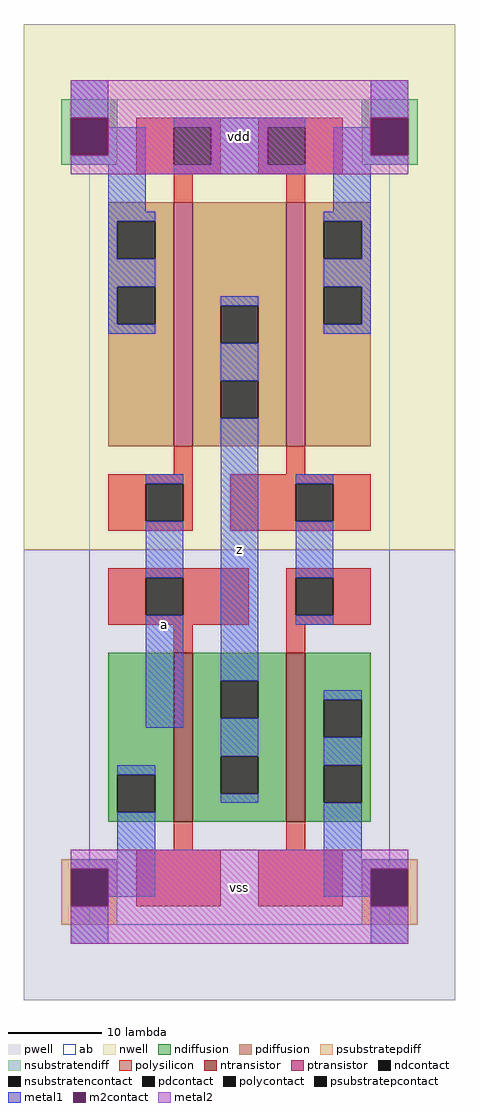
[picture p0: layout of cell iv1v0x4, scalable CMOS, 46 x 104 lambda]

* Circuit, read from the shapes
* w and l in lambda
.subckt iv1v0x4 a vdd vss z
M1 z a vss vss nfet w=18 l=2 m=2
M2 z a vdd vdd pfet w=26 l=2 m=2
.ends

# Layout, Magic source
magic
tech scmos
<< ab >>
rect 0 0 32 88
<< pwell >>
rect -7 -8 39 40
<< nwell >>
rect -7 40 39 96
<< polysilicon >>
rect 5 85 14 86
rect 5 81 9 85
rect 13 81 14 85
rect 5 80 14 81
rect 18 85 27 86
rect 18 81 19 85
rect 23 81 27 85
rect 18 80 27 81
rect 9 77 11 80
rect 21 77 23 80
rect 9 48 11 51
rect 21 48 23 51
rect 2 47 11 48
rect 2 43 6 47
rect 10 43 11 47
rect 2 42 11 43
rect 15 47 30 48
rect 15 43 22 47
rect 26 43 30 47
rect 15 42 30 43
rect 2 37 17 38
rect 2 33 6 37
rect 10 33 17 37
rect 2 32 17 33
rect 21 37 30 38
rect 21 33 22 37
rect 26 33 30 37
rect 21 32 30 33
rect 9 29 11 32
rect 21 29 23 32
rect 9 8 11 11
rect 21 8 23 11
rect 5 2 14 8
rect 18 2 27 8
<< ndiffusion >>
rect 2 16 9 29
rect 2 12 3 16
rect 7 12 9 16
rect 2 11 9 12
rect 11 26 21 29
rect 11 22 14 26
rect 18 22 21 26
rect 11 18 21 22
rect 11 14 14 18
rect 18 14 21 18
rect 11 11 21 14
rect 23 24 30 29
rect 23 20 25 24
rect 29 20 30 24
rect 23 17 30 20
rect 23 13 25 17
rect 29 13 30 17
rect 23 11 30 13
<< pdiffusion >>
rect 2 75 9 77
rect 2 71 3 75
rect 7 71 9 75
rect 2 68 9 71
rect 2 64 3 68
rect 7 64 9 68
rect 2 51 9 64
rect 11 66 21 77
rect 11 62 14 66
rect 18 62 21 66
rect 11 58 21 62
rect 11 54 14 58
rect 18 54 21 58
rect 11 51 21 54
rect 23 75 30 77
rect 23 71 25 75
rect 29 71 30 75
rect 23 68 30 71
rect 23 64 25 68
rect 29 64 30 68
rect 23 51 30 64
<< metal1 >>
rect -2 86 2 90
rect 30 86 34 90
rect 9 85 23 86
rect 2 82 6 85
rect -2 81 6 82
rect 2 76 6 81
rect 13 81 19 85
rect 9 80 23 81
rect 26 82 30 85
rect 26 81 34 82
rect 26 76 30 81
rect 2 75 7 76
rect 2 71 3 75
rect 2 68 7 71
rect 2 64 3 68
rect 25 75 30 76
rect 29 71 30 75
rect 25 68 30 71
rect 2 63 7 64
rect 14 66 18 67
rect 29 64 30 68
rect 25 63 30 64
rect 14 58 18 62
rect 6 47 10 48
rect 6 37 10 43
rect 6 21 10 33
rect 14 26 18 54
rect 22 47 26 48
rect 22 37 26 43
rect 22 32 26 33
rect 14 18 18 22
rect 3 16 7 17
rect 14 13 18 14
rect 25 24 29 25
rect 25 17 29 20
rect 3 7 7 12
rect -2 6 7 7
rect 2 3 7 6
rect 25 7 29 13
rect 25 6 34 7
rect 25 3 30 6
rect -2 -2 2 2
rect 30 -2 34 2
<< metal2 >>
rect -2 86 34 90
rect 2 82 30 86
rect -2 80 34 82
rect -2 6 34 8
rect 2 2 30 6
rect -2 -2 34 2
<< ntransistor >>
rect 9 11 11 29
rect 21 11 23 29
<< ptransistor >>
rect 9 51 11 77
rect 21 51 23 77
<< polycontact >>
rect 9 81 13 85
rect 19 81 23 85
rect 6 43 10 47
rect 22 43 26 47
rect 6 33 10 37
rect 22 33 26 37
<< ndcontact >>
rect 3 12 7 16
rect 14 22 18 26
rect 14 14 18 18
rect 25 20 29 24
rect 25 13 29 17
<< pdcontact >>
rect 3 71 7 75
rect 3 64 7 68
rect 14 62 18 66
rect 14 54 18 58
rect 25 71 29 75
rect 25 64 29 68
<< m2contact >>
rect -2 82 2 86
rect 30 82 34 86
rect -2 2 2 6
rect 30 2 34 6
<< psubstratepcontact >>
rect -2 2 2 6
rect 30 2 34 6
<< nsubstratencontact >>
rect -2 82 2 86
rect 30 82 34 86
<< psubstratepdiff >>
rect -3 6 3 7
rect -3 2 -2 6
rect 2 2 3 6
rect 29 6 35 7
rect 29 2 30 6
rect 34 2 35 6
rect -3 0 3 2
rect 29 0 35 2
<< nsubstratendiff >>
rect -3 86 3 88
rect 29 86 35 88
rect -3 82 -2 86
rect 2 82 3 86
rect -3 81 3 82
rect 29 82 30 86
rect 34 82 35 86
rect 29 81 35 82
<< labels >>
rlabel metal1 8 32 8 32 6 a
rlabel metal1 16 40 16 40 6 z
rlabel metal2 16 4 16 4 6 vss
rlabel metal2 16 84 16 84 6 vdd
<< end >>
